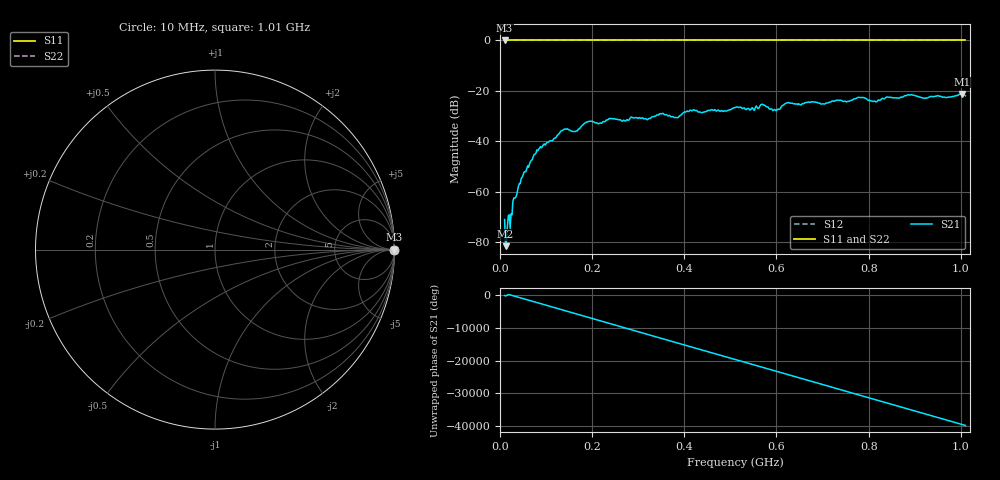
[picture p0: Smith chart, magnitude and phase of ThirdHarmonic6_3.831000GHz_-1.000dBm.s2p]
! 8/17/2025 1:19:25 PM
! C:\ANRITSUVNA\TEMP\TEMP.S2P
! CHANNEL.1
! TR.MEASUREMENT
! RAW.DATA
! RF.CORRECTION.OFF
! AVERAGING.OFF
! IF.BANDWIDTH: 5KHZ
! SWEEPTYPE:  FREQ.SWEEP(Linear)
! Reference Plane Port Info
! PORT:  PORT1  PORT2
! DISTANCE:  0  m  0  m
! TIME:  0  s  0  s
! PHASE.OFFSET:  0  deg.  0  deg.
! LOSS:  0  dB  0  dB
! REF.LOSS:  0  dB  0  dB
! REF.FREQ:  0  Hz  0  Hz
! Power Info
! POWER:  -20  dBm  -20  dBm
! EFF.POWER:  -20  dBm  -20  dBm
! SOURCE.ATTEN:  0  dB  0  dB
! TEST.ATTEN:  0  dB  0  dB
# GHZ S RI R 50.0
! FREQ.GHZ  S11RE  S11IM  S21RE  S21IM  S12RE  S12IM  S22RE  S22IM
!; PortSelection: Port_12
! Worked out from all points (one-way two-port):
!   501 points, 10 MHz to 1.01 GHz, reference 50 ohm
!   highest |S21| = -21.21 dB at 1.002 GHz (marker M1); lowest = -81.5 dB at 12 MHz (marker M2)
!   lowest |S11| = 0.0 dB at 10 MHz (marker M3)
!   |S11| at or under -10 dB: nowhere
!   |S22| runs from 0.0 to 0.0 dB; largest |S21 - S12| = 1.1
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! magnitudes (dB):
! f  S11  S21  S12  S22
! 10 MHz  0.0  -71.0  0.0  0.0
! 12 MHz  0.0  -81.5  0.0  0.0
! 18 MHz  0.0  -69.5  0.0  0.0
! 32 MHz  0.0  -62.4  0.0  0.0
! 44 MHz  0.0  -56.7  0.0  0.0
! 76 MHz  0.0  -45.1  0.0  0.0
! 136 MHz  0.0  -35.6  0.0  0.0
! 164 MHz  0.0  -36.0  0.0  0.0
! 178 MHz  0.0  -33.7  0.0  0.0
! 344 MHz  0.0  -29.6  0.0  0.0
! 382 MHz  0.0  -30.5  0.0  0.0
! 416 MHz  0.0  -27.9  0.0  0.0
! 510 MHz  0.0  -26.6  0.0  0.0
! 570 MHz  0.0  -25.3  0.0  0.0
! 596 MHz  0.0  -27.3  0.0  0.0
! 622 MHz  0.0  -24.8  0.0  0.0
! 678 MHz  0.0  -24.3  0.0  0.0
! 782 MHz  0.0  -22.6  0.0  0.0
! 814 MHz  0.0  -24.1  0.0  0.0
! 844 MHz  0.0  -22.5  0.0  0.0
! 1.002 GHz  0.0  -21.2  0.0  0.0
! 1.01 GHz  0.0  -21.9  0.0  0.0
